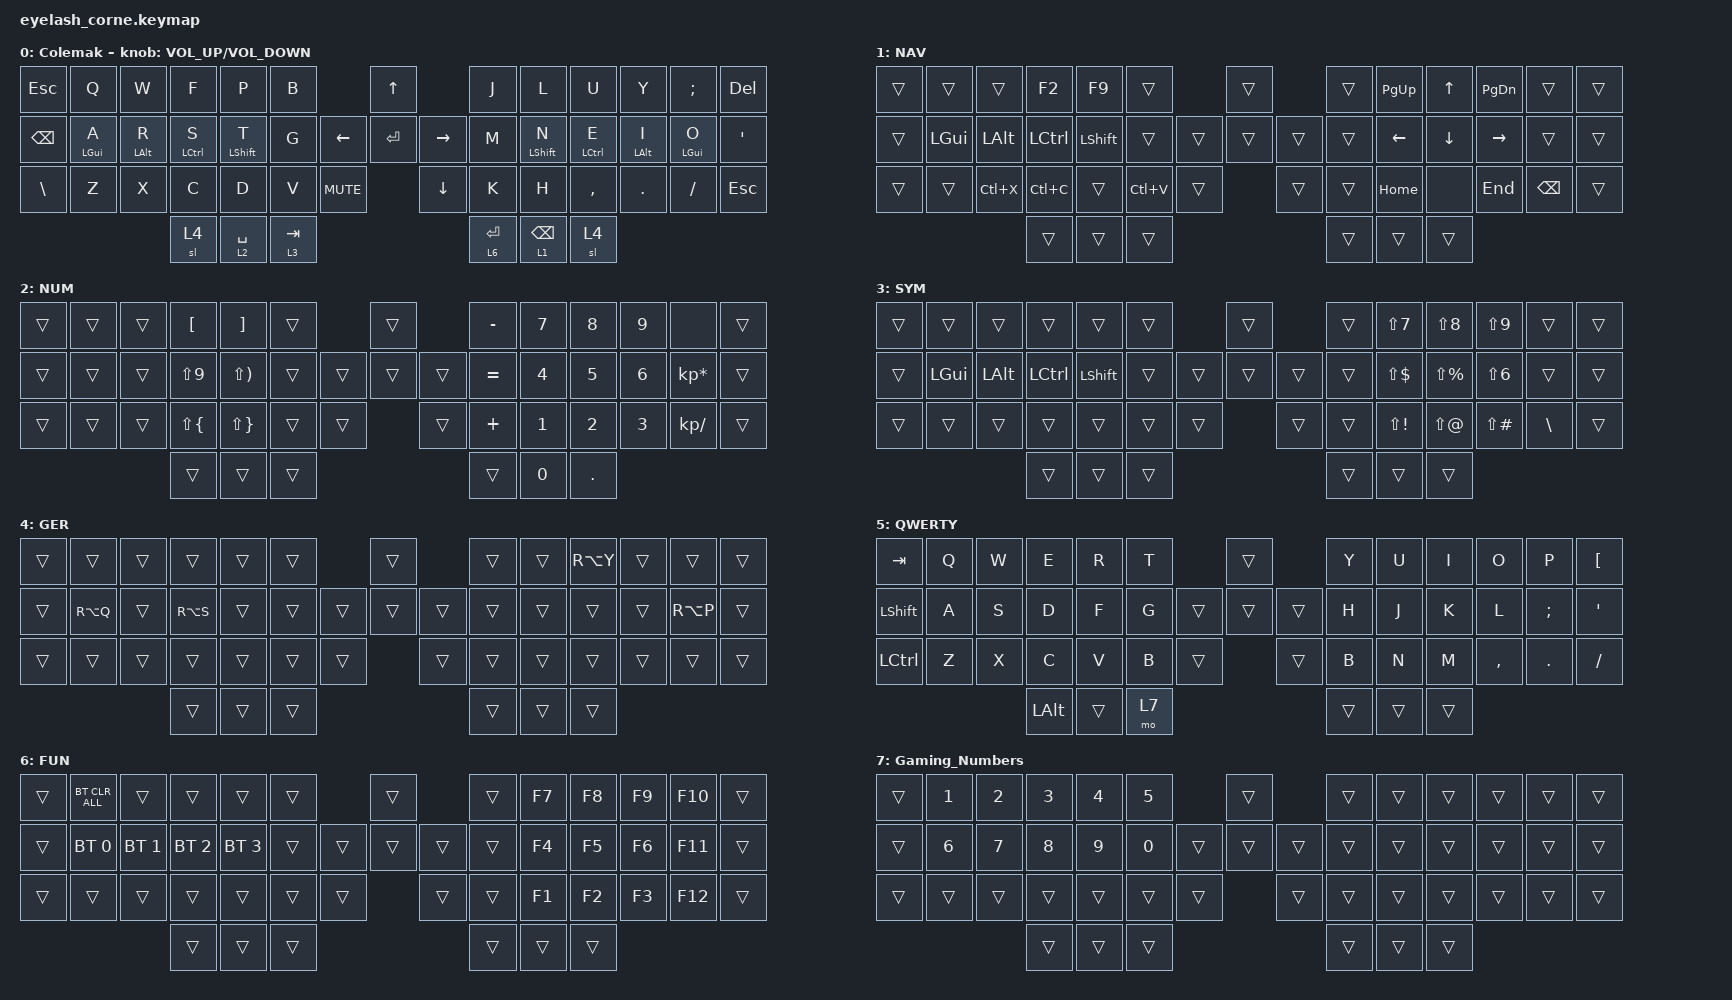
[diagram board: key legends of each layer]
#include <dt-bindings/zmk/mouse.h>
#include <input/processors.dtsi>
#include <behaviors.dtsi>
#include <dt-bindings/zmk/bt.h>
#include <dt-bindings/zmk/keys.h>
#include <dt-bindings/zmk/pointing.h>
#include <dt-bindings/zmk/rgb.h>

/*

   &mmv_input_listener {
       input-processors = <&zip_xy_scaler 2 1>;
   };

   &msc_input_listener {
       input-processors = <&zip_xy_scaler 2 1>;
   };

 */

#define ZMK_MOUSE_DEFAULT_MOVE_VAL 1200  // 600
#define ZMK_MOUSE_DEFAULT_SCRL_VAL 20    // 10

/ {
    behaviors {
        td0: td0 {
            compatible = "zmk,behavior-tap-dance";
            display-name = "Shift/Caps Lock Tap Dance";
            #binding-cells = <0>;
            bindings = <&kp LEFT_SHIFT>, <&kp CAPS>;
        };

        hml: hml {
            compatible = "zmk,behavior-hold-tap";
            label = "HML";
            bindings = <&kp>, <&kp>;

            #binding-cells = <2>;
            tapping-term-ms = <200>;
            quick-tap-ms = <125>;
            flavor = "balanced";
            hold-trigger-key-positions = <7 8 9 10 11 12 22 23 24 25 26 27 36 37 38 39 40 41 42 43 44 45 45 46 47>;
            require-prior-idle-ms = <75>;
        };

        hmr: hmr {
            compatible = "zmk,behavior-hold-tap";
            label = "HMR";
            bindings = <&kp>, <&kp>;

            #binding-cells = <2>;
            tapping-term-ms = <200>;
            quick-tap-ms = <125>;
            flavor = "balanced";
            hold-trigger-key-positions = <0 1 2 3 4 5 13 14 15 16 17 18 28 29 30 31 32 33 34 42 43 44 45 46 47>;
            require-prior-idle-ms = <75>;
        };
    };

    rgb_encoder: rgb_encoder {
        compatible = "zmk,behavior-sensor-rotate";
        #sensor-binding-cells = <0>;
        bindings = <&rgb_ug RGB_BRI>, <&rgb_ug RGB_BRD>;
    };

    scroll_encoder: scroll_encoder {
        compatible = "zmk,behavior-sensor-rotate";
        #sensor-binding-cells = <0>;
        bindings = <&msc SCRL_DOWN>, <&msc SCRL_UP>;

        tap-ms = <30>;
    };

    combos {
        compatible = "zmk,combos";

        CAPS_WORD {
            bindings = <&caps_word>;
            key-positions = <32 37>;
        };

        xcl_f2 {
            bindings = <&kp F2>;
            key-positions = <23 25>;
            layers = <1>;
        };

        f9 {
            bindings = <&kp F9>;
            key-positions = <23 24>;
        };

        SWAP_QWERTY {
            bindings = <&tog 5>;
            key-positions = <8 9 10 11>;
        };
    };

    keymap {
        compatible = "zmk,keymap";

        default_layer {
            display-name = "Colemak";
            bindings = <
&kp ESCAPE     &kp Q            &kp W            &kp F         &kp P              &kp B                              &kp UP                &kp J        &kp L              &kp U         &kp Y            &kp SEMI         &kp DELETE
&kp BACKSPACE  &hml LEFT_GUI A  &hml LEFT_ALT R  &hml LCTRL S  &hml LEFT_SHIFT T  &kp G                    &kp LEFT  &kp ENTER  &kp RIGHT  &kp M        &hmr LEFT_SHIFT N  &hmr LCTRL E  &hmr LEFT_ALT I  &hmr LEFT_GUI O  &kp SINGLE_QUOTE
&kp BACKSLASH  &kp Z            &kp X            &kp C         &kp D              &kp V      &kp K_MUTE              &kp DOWN              &kp K        &kp H              &kp COMMA     &kp DOT          &kp FSLH         &kp ESC
                                                 &sl 4         &lt 2 SPACE        &lt 3 TAB                                                &lt 6 ENTER  &lt 1 BACKSPACE    &sl 4
            >;

            sensor-bindings = <&inc_dec_kp C_VOLUME_UP C_VOLUME_DOWN>;
        };

        NAV {
            bindings = <
&trans  &trans        &trans        &kp F2     &kp F9          &trans                       &trans          &trans  &kp PG_UP  &kp UP    &kp PG_DN  &trans    &trans
&trans  &kp LEFT_GUI  &kp LEFT_ALT  &kp LCTRL  &kp LEFT_SHIFT  &trans               &trans  &trans  &trans  &trans  &kp LEFT   &kp DOWN  &kp RIGHT  &trans    &trans
&trans  &trans        &kp LC(X)     &kp LC(C)  &trans          &kp LC(V)  &trans            &trans          &trans  &kp HOME   &none     &kp END    &kp BSPC  &trans
                                    &trans     &trans          &trans                                       &trans  &trans     &trans
            >;

            label = "NAV";
        };

        NUM {
            bindings = <
&trans  &trans  &trans  &kp LBKT            &kp RBKT                   &trans                    &trans          &kp MINUS  &kp N7  &kp N8   &kp N9  &none            &trans
&trans  &trans  &trans  &kp LS(N9)          &kp LS(RIGHT_PARENTHESIS)  &trans            &trans  &trans  &trans  &kp EQUAL  &kp N4  &kp N5   &kp N6  &kp KP_MULTIPLY  &trans
&trans  &trans  &trans  &kp LS(LEFT_BRACE)  &kp LS(RIGHT_BRACE)        &trans  &trans            &trans          &kp PLUS   &kp N1  &kp N2   &kp N3  &kp KP_DIVIDE    &trans
                        &trans              &trans                     &trans                                    &trans     &kp N0  &kp DOT
            >;

            label = "NUM";
        };

        SYM {
            bindings = <
&trans  &trans        &trans        &trans     &trans          &trans                    &trans          &trans  &kp LS(N7)    &kp LS(N8)     &kp LS(N9)        &trans         &trans
&trans  &kp LEFT_GUI  &kp LEFT_ALT  &kp LCTRL  &kp LEFT_SHIFT  &trans            &trans  &trans  &trans  &trans  &kp LS(DLLR)  &kp LS(PRCNT)  &kp LS(NUMBER_6)  &trans         &trans
&trans  &trans        &trans        &trans     &trans          &trans  &trans            &trans          &trans  &kp LS(EXCL)  &kp LS(AT)     &kp LS(POUND)     &kp BACKSLASH  &trans
                                    &trans     &trans          &trans                                    &trans  &trans        &trans
            >;

            label = "SYM";
        };

        GER {
            bindings = <
&trans  &trans     &trans  &trans     &trans  &trans                    &trans          &trans  &trans  &kp RA(Y)  &trans  &trans     &trans
&trans  &kp RA(Q)  &trans  &kp RA(S)  &trans  &trans            &trans  &trans  &trans  &trans  &trans  &trans     &trans  &kp RA(P)  &trans
&trans  &trans     &trans  &trans     &trans  &trans  &trans            &trans          &trans  &trans  &trans     &trans  &trans     &trans
                           &trans     &trans  &trans                                    &trans  &trans  &trans
            >;

            label = "GER";
        };

        QWERTY {
            bindings = <
&kp TAB    &kp Q  &kp W  &kp E         &kp R   &kp T                    &trans          &kp Y   &kp U   &kp I   &kp O      &kp P     &kp LBKT
&kp LSHFT  &kp A  &kp S  &kp D         &kp F   &kp G            &trans  &trans  &trans  &kp H   &kp J   &kp K   &kp L      &kp SEMI  &kp APOS
&kp LCTRL  &kp Z  &kp X  &kp C         &kp V   &kp B  &trans            &trans          &kp B   &kp N   &kp M   &kp COMMA  &kp DOT   &kp FSLH
                         &kp LEFT_ALT  &trans  &mo 7                                    &trans  &trans  &trans
            >;

            label = "QWERTY";
        };

        FUN {
            bindings = <
&trans  &bt BT_CLR_ALL        &trans        &trans        &trans        &trans                    &trans          &trans  &kp F7  &kp F8  &kp F9  &kp F10  &trans
&trans  &bt BT_SEL 0  &bt BT_SEL 1  &bt BT_SEL 2  &bt BT_SEL 3  &trans            &trans  &trans  &trans  &trans  &kp F4  &kp F5  &kp F6  &kp F11  &trans
&trans  &trans        &trans        &trans        &trans        &trans  &trans            &trans          &trans  &kp F1  &kp F2  &kp F3  &kp F12  &trans
                                    &trans        &trans        &trans                                    &trans  &trans  &trans
            >;

            label = "FUN";
        };

        Gaming_Numbers {
            bindings = <
&trans  &kp N1  &kp N2  &kp N3  &kp N4  &kp N5                    &trans          &trans  &trans  &trans  &trans  &trans  &trans
&trans  &kp N6  &kp N7  &kp N8  &kp N9  &kp N0            &trans  &trans  &trans  &trans  &trans  &trans  &trans  &trans  &trans
&trans  &trans  &trans  &trans  &trans  &trans  &trans            &trans          &trans  &trans  &trans  &trans  &trans  &trans
                        &trans  &trans  &trans                                    &trans  &trans  &trans
            >;

            label = "Gaming_Numbers";
        };
    };

    conditional_layers { compatible = "zmk,conditional-layers"; };
};
